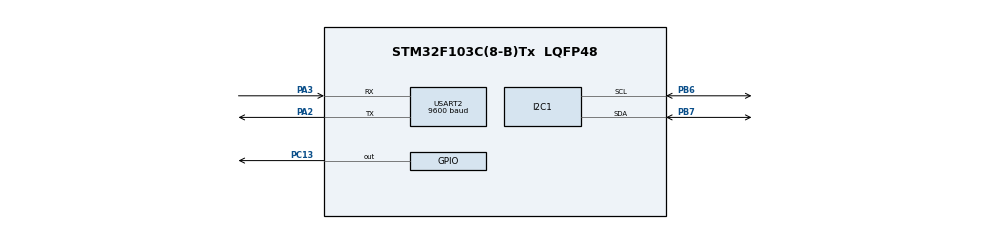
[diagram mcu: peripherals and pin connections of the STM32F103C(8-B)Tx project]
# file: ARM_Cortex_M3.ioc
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FREERTOS.Tasks01=defaultTask,0,128,StartDefaultTask,Default,NULL,Dynamic,NULL,NULL;Task1,-3,128,task1_handler,Default,NULL,Dynamic,NULL,NULL
FREERTOS.configUSE_NEWLIB_REENTRANT=1
I2C1.I2C_Mode=I2C_Fast
Mcu.Family=STM32F1
Mcu.Name=STM32F103C(8-B)Tx
Mcu.Package=LQFP48
NVIC.PriorityGroup=NVIC_PRIORITYGROUP_4
NVIC.TIM4_IRQn=true\:15\:0\:false\:false\:true\:false\:false\:true\:true
NVIC.TimeBase=TIM4_IRQn
NVIC.TimeBaseIP=TIM4
PA2.Mode=Asynchronous
PA2.Signal=USART2_TX
PA3.Mode=Asynchronous
PA3.Signal=USART2_RX
PB6.Mode=I2C
PB6.Signal=I2C1_SCL
PB7.Mode=I2C
PB7.Signal=I2C1_SDA
PC13-TAMPER-RTC.Signal=GPIO_Output
ProjectManager.HeapSize=0x200
ProjectManager.StackSize=0x400
ProjectManager.TargetToolchain=STM32CubeIDE
RCC.APB1Freq_Value=8000000
RCC.APB2Freq_Value=8000000
USART2.BaudRate=9600
USART2.VirtualMode=VM_ASYNC
VP_FREERTOS_VS_CMSIS_V1.Mode=CMSIS_V1
VP_SYS_VS_ND.Mode=No_Debug
VP_SYS_VS_tim4.Mode=TIM4
board=custom

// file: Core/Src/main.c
/* USER CODE BEGIN Header */
/**
  ******************************************************************************
  * @file           : main.c
  * @brief          : Main program body
  ******************************************************************************
  * @attention
  *
  * Copyright (c) 2023 STMicroelectronics.
  * All rights reserved.
  *
  * This software is licensed under terms that can be found in the LICENSE file
  * in the root directory of this software component.
  * If no LICENSE file comes with this software, it is provided AS-IS.
  *
  ******************************************************************************
  */
/* USER CODE END Header */
#include "main.h"
#include "cmsis_os.h"

/* USER CODE BEGIN Includes */
#include <stdio.h>
#include "FreeRTOS.h"
#include "task.h"

#include "fonts.h"
#include "ssd1306.h"

/* USER CODE END Includes */

I2C_HandleTypeDef hi2c1;

UART_HandleTypeDef huart2;

osThreadId defaultTaskHandle;
osThreadId Task1Handle;

void SystemClock_Config(void);
static void MX_GPIO_Init(void);
static void MX_USART2_UART_Init(void);
static void MX_I2C1_Init(void);
void StartDefaultTask(void const * argument);
void task1_handler(void const * argument);

/* USER CODE BEGIN PFP */
static void task1_UART(void * parameters);
static void task2_UART(void * parameters);
static void task_LED(void * parameters);
static void task_OLED(void * parameters);
#define PUTCHAR_PROTOTYPE int __io_putchar(int ch)

/* USER CODE END PFP */

int main(void)
{
  /* USER CODE BEGIN 1 */
	TaskHandle_t task1_UART_hndl;
	TaskHandle_t task2_UART_hndl;
	TaskHandle_t task_LED_XD;
	TaskHandle_t task_OLED_XD;

	BaseType_t taskCreationStatus;

  /* USER CODE END 1 */

  /* MCU Configuration--------------------------------------------------------*/

  /* Reset of all peripherals, Initializes the Flash interface and the Systick. */
  HAL_Init();

  /* Configure the system clock */
  SystemClock_Config();

  /* Initialize all configured peripherals */
  MX_GPIO_Init();
  MX_USART2_UART_Init();
  MX_I2C1_Init();
  /* USER CODE BEGIN 2 */

	SSD1306_Init();
	char buffer[16];

//	SSD1306_GotoXY (0,0);
//	SSD1306_Puts ("MOR Y", &Font_11x18, SSD1306_COLOR_WHITE);
//	SSD1306_GotoXY (0, 20);
//	SSD1306_Puts ("YO XD", &Font_11x18, SSD1306_COLOR_WHITE);

	SSD1306_GotoXY (0,0);
	SSD1306_Puts ("MENU", &Font_7x10, SSD1306_COLOR_WHITE);
	SSD1306_GotoXY (0, 20);
	SSD1306_Puts ("(1) CONGRESO", &Font_7x10, SSD1306_COLOR_WHITE);
	SSD1306_GotoXY (0, 40);
	SSD1306_Puts ("(2) HARTONG", &Font_7x10, SSD1306_COLOR_WHITE);
	SSD1306_GotoXY (0, 60);
	SSD1306_Puts ("(1) CONGRESO", &Font_7x10, SSD1306_COLOR_WHITE);

//	strcpy(buffer, "FOFO :)P");
////	SSD1306_CenterXY(buffer, 1);
//	SSD1306_GotoXY (100, 0);
//	//sprintf(buffer, "%d", strlen(buffer));
//	SSD1306_Puts (buffer, &Font_11x18, SSD1306_COLOR_WHITE);
//	SSD1306_GotoXY (1, 20);
//	SSD1306_Puts ("YO XD", &Font_11x18, SSD1306_COLOR_WHITE);

//	SSD1306_DrawPixel(127, 5, SSD1306_COLOR_WHITE);
//	printf("\nValue of x = %d", 127);
//	SSD1306_UpdateScreen();
//	HAL_Delay (2000);
//
//	unsigned int x;
//
//	for(x = 127; x >= 0; x--)
//	{
//		SSD1306_DrawPixel(x, 5, SSD1306_COLOR_WHITE);
//		printf("\nValue of x = %u", x);
//		SSD1306_UpdateScreen();
//		HAL_Delay (200);
//	}

	SSD1306_UpdateScreen();
	HAL_Delay (1000);

//	SSD1306_ScrollRight(0,7);
//	HAL_Delay(3000);
//	SSD1306_ScrollLeft(0,7);
//	HAL_Delay(3000);
//	SSD1306_Stopscroll();
//	SSD1306_Clear();
//	SSD1306_GotoXY (35,0);
//	SSD1306_Puts ("SCORE", &Font_7x10, 1);

  /* USER CODE END 2 */

  /* Create the thread(s) */
  /* definition and creation of defaultTask */
//  osThreadDef(defaultTask, StartDefaultTask, osPriorityNormal, 0, 128);
//  defaultTaskHandle = osThreadCreate(osThread(defaultTask), NULL);

  /* definition and creation of Task1 */
//  osThreadDef(Task1, task1_handler, osPriorityIdle, 0, 128);
//  Task1Handle = osThreadCreate(osThread(Task1), NULL);

  /* USER CODE BEGIN RTOS_THREADS */
    taskCreationStatus = xTaskCreate(task1_UART, "Task-1", 100, "Hello World task 1", 2, &task1_UART_hndl);

    configASSERT(taskCreationStatus == pdPASS);

    taskCreationStatus = xTaskCreate(task2_UART, "Task-2", 100, "Hello World task 2", 2, &task2_UART_hndl);

    configASSERT(taskCreationStatus == pdPASS);

    taskCreationStatus = xTaskCreate(task_LED, "Task-LED", 50, "LED Task", 3, &task_LED_XD);

    configASSERT(taskCreationStatus == pdPASS);

    taskCreationStatus = xTaskCreate(task_OLED, "OLED", 200, "OLED Task", 3, &task_OLED_XD);

    configASSERT(taskCreationStatus == pdPASS);
  /* USER CODE END RTOS_THREADS */

  /* Start scheduler */
  vTaskStartScheduler();
  /* We should never get here as control is now taken by the scheduler */
  /* Infinite loop */
  while (1)
  {

  }
}

void SystemClock_Config(void)
{
  RCC_OscInitTypeDef RCC_OscInitStruct = {0};
  RCC_ClkInitTypeDef RCC_ClkInitStruct = {0};

  /** Initializes the RCC Oscillators according to the specified parameters
  * in the RCC_OscInitTypeDef structure.
  */
  RCC_OscInitStruct.OscillatorType = RCC_OSCILLATORTYPE_HSI;
  RCC_OscInitStruct.HSIState = RCC_HSI_ON;
  RCC_OscInitStruct.HSICalibrationValue = RCC_HSICALIBRATION_DEFAULT;
  RCC_OscInitStruct.PLL.PLLState = RCC_PLL_NONE;
  if (HAL_RCC_OscConfig(&RCC_OscInitStruct) != HAL_OK)
  {
    Error_Handler();
  }

  /** Initializes the CPU, AHB and APB buses clocks
  */
  RCC_ClkInitStruct.ClockType = RCC_CLOCKTYPE_HCLK|RCC_CLOCKTYPE_SYSCLK
                              |RCC_CLOCKTYPE_PCLK1|RCC_CLOCKTYPE_PCLK2;
  RCC_ClkInitStruct.SYSCLKSource = RCC_SYSCLKSOURCE_HSI;
  RCC_ClkInitStruct.AHBCLKDivider = RCC_SYSCLK_DIV1;
  RCC_ClkInitStruct.APB1CLKDivider = RCC_HCLK_DIV1;
  RCC_ClkInitStruct.APB2CLKDivider = RCC_HCLK_DIV1;

  if (HAL_RCC_ClockConfig(&RCC_ClkInitStruct, FLASH_LATENCY_0) != HAL_OK)
  {
    Error_Handler();
  }
}

static void MX_I2C1_Init(void)
{

  hi2c1.Instance = I2C1;
  hi2c1.Init.ClockSpeed = 400000;
  hi2c1.Init.DutyCycle = I2C_DUTYCYCLE_2;
  hi2c1.Init.OwnAddress1 = 0;
  hi2c1.Init.AddressingMode = I2C_ADDRESSINGMODE_7BIT;
  hi2c1.Init.DualAddressMode = I2C_DUALADDRESS_DISABLE;
  hi2c1.Init.OwnAddress2 = 0;
  hi2c1.Init.GeneralCallMode = I2C_GENERALCALL_DISABLE;
  hi2c1.Init.NoStretchMode = I2C_NOSTRETCH_DISABLE;
  if (HAL_I2C_Init(&hi2c1) != HAL_OK)
  {
    Error_Handler();
  }

}

static void MX_USART2_UART_Init(void)
{

  huart2.Instance = USART2;
  huart2.Init.BaudRate = 9600;
  huart2.Init.WordLength = UART_WORDLENGTH_8B;
  huart2.Init.StopBits = UART_STOPBITS_1;
  huart2.Init.Parity = UART_PARITY_NONE;
  huart2.Init.Mode = UART_MODE_TX_RX;
  huart2.Init.HwFlowCtl = UART_HWCONTROL_NONE;
  huart2.Init.OverSampling = UART_OVERSAMPLING_16;
  if (HAL_UART_Init(&huart2) != HAL_OK)
  {
    Error_Handler();
  }

}

static void MX_GPIO_Init(void)
{
  GPIO_InitTypeDef GPIO_InitStruct = {0};

  /* GPIO Ports Clock Enable */
  __HAL_RCC_GPIOC_CLK_ENABLE();
  __HAL_RCC_GPIOA_CLK_ENABLE();
  __HAL_RCC_GPIOB_CLK_ENABLE();

  /*Configure GPIO pin Output Level */
  HAL_GPIO_WritePin(GPIOC, GPIO_PIN_13, GPIO_PIN_RESET);

  /*Configure GPIO pin : PC13 */
  GPIO_InitStruct.Pin = GPIO_PIN_13;
  GPIO_InitStruct.Mode = GPIO_MODE_OUTPUT_PP;
  GPIO_InitStruct.Pull = GPIO_NOPULL;
  GPIO_InitStruct.Speed = GPIO_SPEED_FREQ_LOW;
  HAL_GPIO_Init(GPIOC, &GPIO_InitStruct);

}

/* USER CODE BEGIN 4 */

static void task1_UART(void * parameters)
{
	while(1)
	{
		printf("%s\n", (char*)parameters);
		vTaskDelay(100);
	}
}

static void task2_UART(void * parameters)
{
	while(1)
	{
		printf("%s\n", (char*)parameters);
		vTaskDelay(100);
	}

}

static void task_LED(void * parameters)
{

	while(1)
	{
		HAL_GPIO_WritePin(GPIOC, GPIO_PIN_13, GPIO_PIN_RESET);
		vTaskDelay(500);
		HAL_GPIO_WritePin(GPIOC, GPIO_PIN_13, GPIO_PIN_SET);
		vTaskDelay(500);
	}

}

static void task_OLED(void * parameters)
{

//	vTaskSuspend(task_OLED);
	while(1)
	{
		vTaskDelay(1000);
//		SSD1306_ScrollRight(0,7);
//		vTaskDelay(3000);
//		SSD1306_ScrollLeft(0,7);
//		vTaskDelay(3000);
//		SSD1306_Stopscroll();
	}

}

/**
  * @brief  Retargets the C library printf function to the USART.
  * @param  None
  * @retval None
  */
PUTCHAR_PROTOTYPE
{
  /* Place your implementation of fputc here */
  /* e.g. write a character to the USART1 and Loop until the end of transmission */
  HAL_UART_Transmit(&huart2, (uint8_t *)&ch, 1, 0xFFFF);

  return ch;
}

/* USER CODE END 4 */

void StartDefaultTask(void const * argument)
{
  for(;;)
  {
    osDelay(1);
  }
}

void task1_handler(void const * argument)
{
  /* USER CODE BEGIN task1_handler */
//  /* Infinite loop */
//  for(;;)
//  {
//    osDelay(1);
//    HAL_GPIO_WritePin(GPIOC, GPIO_PIN_13, GPIO_PIN_RESET);
//    osDelay(500);
//	HAL_GPIO_WritePin(GPIOC, GPIO_PIN_13, GPIO_PIN_SET);
//	osDelay(500);
//  }
  /* USER CODE END task1_handler */
}

void HAL_TIM_PeriodElapsedCallback(TIM_HandleTypeDef *htim)
{
  if (htim->Instance == TIM4) {
    HAL_IncTick();
  }
}

void Error_Handler(void)
{
  __disable_irq();
  while (1)
  {
  }
}
